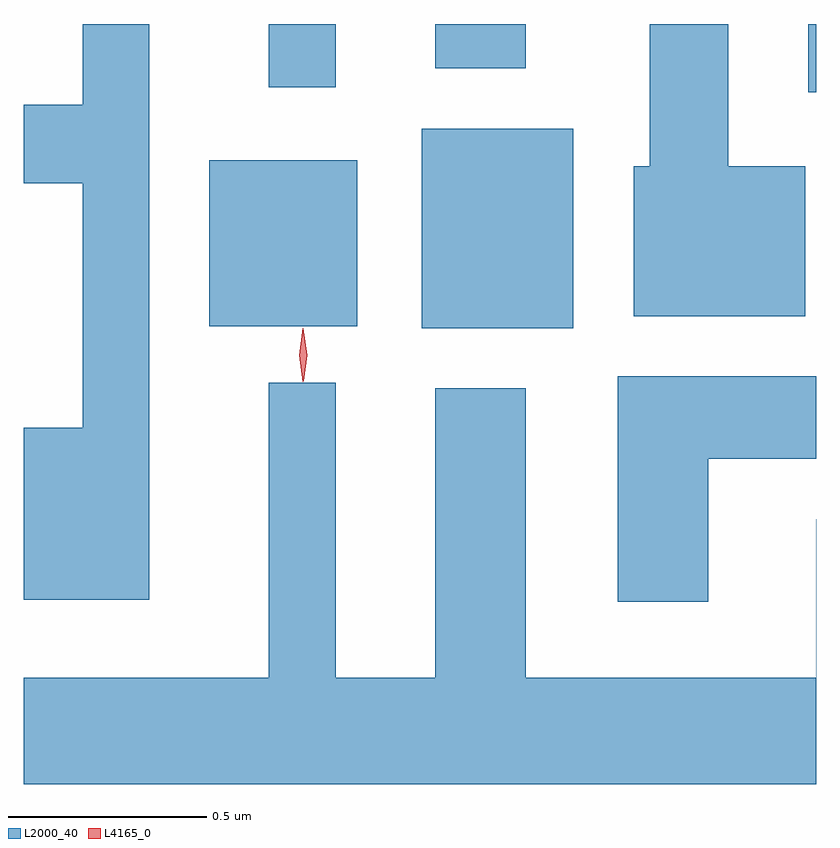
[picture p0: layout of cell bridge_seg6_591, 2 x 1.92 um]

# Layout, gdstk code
import gdstk
lib = gdstk.Library(unit=1e-6, precision=1e-09)
def R(c, l, rs):  # rectangles x0, y0, x1, y1
    for r in rs: c.add(gdstk.rectangle(r[:2], r[2:], *l))
def P(c, l, *ps):  # polygons
    for p in ps: c.add(gdstk.Polygon(p, *l))
L2000_40 = (2000, 40)
L4165_0 = (4165, 0)

bridge_seg6_591 = lib.new_cell('bridge_seg6_591')
R(bridge_seg6_591, L2000_40, [(433.216,1648.866,433.599,1649.369), (432.681,1648.871,433.054,1649.289), (434.191,1649.461,434.212,1649.633), (432.831,1649.473,432.999,1649.633), (433.251,1649.521,433.479,1649.633)])
P(bridge_seg6_591, L2000_40, [(432.529,1649.633),(432.361,1649.633),(432.361,1649.429),(432.212,1649.429),(432.212,1649.231),(432.361,1649.231),(432.361,1648.614),(432.212,1648.614),(432.212,1648.181),(432.529,1648.181)],
  [(434.184,1649.274),(433.989,1649.274),(433.989,1649.633),(433.791,1649.633),(433.791,1649.274),(433.751,1649.274),(433.751,1648.896),(434.184,1648.896)],
  [(433.939,1648.536),(434.212,1648.536),(434.212,1648.744),(433.711,1648.744),(433.711,1648.176),(433.939,1648.176)],
  [(434.212,1648.384),(434.211,1648.384),(434.211,1647.984),(433.479,1647.984),(433.479,1648.714),(433.251,1648.714),(433.251,1647.984),(432.999,1647.984),(432.999,1648.728),(432.831,1648.728),(432.831,1647.984),(432.212,1647.984),(432.212,1647.716),(434.212,1647.716)])
P(bridge_seg6_591, L4165_0, [(432.918,1648.733),(432.918,1648.733),(432.908,1648.798),(432.917,1648.861),(432.917,1648.862),(432.918,1648.861),(432.928,1648.798),(432.919,1648.733)],
  [(432.916,1648.73),(432.907,1648.798),(432.916,1648.866),(432.917,1648.866),(432.917,1648.866),(432.927,1648.798),(432.917,1648.73),(432.917,1648.73)])

lib.write_gds('bridge_seg6_591.gds')
